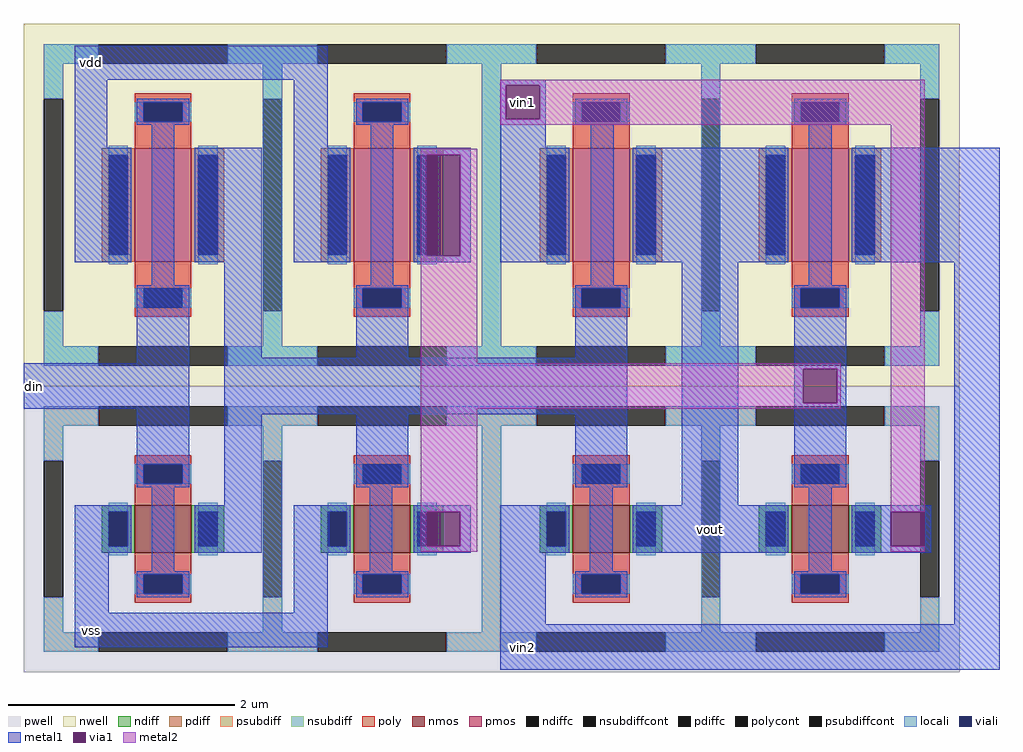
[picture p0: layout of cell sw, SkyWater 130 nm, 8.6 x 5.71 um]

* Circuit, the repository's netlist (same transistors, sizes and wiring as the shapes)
** sch_path: /home/97ms/uci/ip/dac/1.schematics/sw.sch


.subckt sw vdd vss din vin1 vin2 vout
*.iopin vdd
*.iopin vss
*.iopin din
*.iopin vin1
*.iopin vin2
*.iopin vout
XM1 net1 din vdd vdd sky130_fd_pr__pfet_01v8 L=0.5 W=1
XM2 net2 net1 vdd vdd sky130_fd_pr__pfet_01v8 L=0.5 W=1
XM3 vout net1 vin1 vdd sky130_fd_pr__pfet_01v8 L=0.5 W=1
XM4 vin2 net2 vout vdd sky130_fd_pr__pfet_01v8 L=0.5 W=1
XM5 net1 din vss vss sky130_fd_pr__nfet_01v8 L=0.5 W=0.42
XM6 net2 net1 vss vss sky130_fd_pr__nfet_01v8 L=0.5 W=0.42
XM7 vout net1 vin2 vss sky130_fd_pr__nfet_01v8 L=0.5 W=0.42
XM8 vin1 net2 vout vss sky130_fd_pr__nfet_01v8 L=0.5 W=0.42
**.ends
.ends sw

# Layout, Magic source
magic
tech sky130B
magscale 1 2
<< metal1 >>
rect -110 940 336 1000
rect -110 820 -52 940
rect -110 618 -10 820
rect 26 578 66 860
rect 276 820 336 940
rect 640 930 720 940
rect 640 870 650 930
rect 710 870 720 930
rect 102 618 220 820
rect 276 618 376 820
rect 0 440 92 576
rect -200 360 92 440
rect 0 268 92 360
rect 154 450 220 618
rect 412 578 452 860
rect 640 820 720 870
rect 488 808 588 820
rect 488 630 510 808
rect 570 630 588 808
rect 488 618 588 630
rect 640 618 762 820
rect 800 578 840 860
rect 874 618 1148 820
rect 386 450 478 538
rect 772 450 864 538
rect 154 350 864 450
rect -110 0 -50 190
rect 26 74 66 222
rect 154 190 220 350
rect 386 222 478 350
rect 772 222 864 350
rect 102 106 220 190
rect 276 106 340 190
rect 276 0 336 106
rect 410 74 450 222
rect 488 178 588 190
rect 488 118 510 178
rect 570 118 588 178
rect 488 106 588 118
rect -110 -60 336 0
rect 640 -20 720 190
rect 798 74 838 222
rect 960 190 1060 618
rect 1184 578 1224 860
rect 1260 618 1520 820
rect 1158 430 1250 538
rect 1158 370 1174 430
rect 1234 370 1250 430
rect 1158 222 1250 370
rect 874 106 1146 190
rect 1184 74 1224 222
rect 1260 178 1400 190
rect 1260 118 1328 178
rect 1388 118 1400 178
rect 1260 106 1400 118
rect 1440 -20 1520 618
rect 640 -100 1520 -20
<< via1 >>
rect 650 870 710 930
rect 510 630 570 808
rect 510 118 570 178
rect 1174 370 1234 430
rect 1328 118 1388 178
<< metal2 >>
rect 640 930 1388 940
rect 640 870 650 930
rect 710 870 1388 930
rect 640 860 1388 870
rect 500 808 600 818
rect 500 630 510 808
rect 570 630 600 808
rect 500 440 600 630
rect 500 430 1240 440
rect 500 370 1174 430
rect 1234 370 1240 430
rect 500 360 1240 370
rect 500 178 600 360
rect 500 118 510 178
rect 570 118 600 178
rect 500 108 600 118
rect 1328 178 1388 860
rect 1328 108 1388 118
use sky130_fd_pr__pfet_01v8_XPYSY6  sky130_fd_pr__pfet_01v8_XPYSY6_0
transform 1 0 46 0 1 719
box -246 -319 246 319
use sky130_fd_pr__pfet_01v8_XHX9Y6  XM2
transform 1 0 432 0 1 719
box -246 -319 246 319
use sky130_fd_pr__pfet_01v8_XHX9Y6  XM3
transform 1 0 818 0 1 719
box -246 -319 246 319
use sky130_fd_pr__pfet_01v8_XPYSY6  XM4
transform 1 0 1204 0 1 719
box -246 -319 246 319
use sky130_fd_pr__nfet_01v8_ZFH27D  XM5
transform 1 0 46 0 1 148
box -246 -252 246 252
use sky130_fd_pr__nfet_01v8_HEL24J  XM6
transform 1 0 432 0 1 148
box -246 -252 246 252
use sky130_fd_pr__nfet_01v8_HEL24J  XM7
transform 1 0 818 0 1 148
box -246 -252 246 252
use sky130_fd_pr__nfet_01v8_ZFH27D  XM8
transform 1 0 1204 0 1 148
box -246 -252 246 252
<< labels >>
rlabel metal1 960 106 1060 190 1 vout
port 6 n
rlabel metal1 -200 360 -160 440 1 din
port 3 n
rlabel metal1 -110 -60 -50 0 1 vss
port 2 n
rlabel metal1 -110 940 -52 1000 1 vdd
port 1 n
rlabel metal2 640 860 720 940 1 vin1
port 4 n
rlabel metal1 640 -100 720 -20 1 vin2
port 5 n
<< end >>

# cell sky130_fd_pr__pfet_01v8_XPYSY6: kit device sky130_fd_pr__pfet_01v8, w 1.0 l 0.5 m 1 nf 1 diffcov 100 polycov 100 guard 1 glc 1 grc 1 gtc 1 gbc 1 tbcov 100 rlcov 100 topc 1 botc 1 poverlap 0 doverlap 1 lmin 0.15 wmin 0.42 compatible {sky130_fd_pr__pfet_01v8 sky130_fd_pr__pfet_01v8_lvt sky130_fd_pr__pfet_01v8_hvt sky130_fd_pr__pfet_g5v0d10v5} full_metal 1 viasrc 100 viadrn 100 viagate 100 viagb 0 viagr 0 viagl 0 viagt 0

# cell sky130_fd_pr__pfet_01v8_XHX9Y6: kit device sky130_fd_pr__pfet_01v8, w 1.0 l 0.5 m 1 nf 1 diffcov 100 polycov 100 guard 1 glc 0 grc 0 gtc 1 gbc 1 tbcov 100 rlcov 100 topc 1 botc 1 poverlap 0 doverlap 1 lmin 0.15 wmin 0.42 compatible {sky130_fd_pr__pfet_01v8 sky130_fd_pr__pfet_01v8_lvt sky130_fd_pr__pfet_01v8_hvt sky130_fd_pr__pfet_g5v0d10v5} full_metal 1 viasrc 100 viadrn 100 viagate 100 viagb 0 viagr 0 viagl 0 viagt 0

# cell sky130_fd_pr__nfet_01v8_ZFH27D: kit device sky130_fd_pr__nfet_01v8, w 0.42 l 0.5 m 1 nf 1 diffcov 100 polycov 100 guard 1 glc 1 grc 1 gtc 1 gbc 1 tbcov 100 rlcov 100 topc 1 botc 1 poverlap 0 doverlap 1 lmin 0.15 wmin 0.42 compatible {sky130_fd_pr__nfet_01v8 sky130_fd_pr__nfet_01v8_lvt sky130_fd_bs_flash__special_sonosfet_star sky130_fd_pr__nfet_g5v0d10v5 sky130_fd_pr__nfet_05v0_nvt sky130_fd_pr__nfet_03v3_nvt} full_metal 1 viasrc 100 viadrn 100 viagate 100 viagb 0 viagr 0 viagl 0 viagt 0

# cell sky130_fd_pr__nfet_01v8_HEL24J: kit device sky130_fd_pr__nfet_01v8, w 0.42 l 0.5 m 1 nf 1 diffcov 100 polycov 100 guard 1 glc 0 grc 0 gtc 1 gbc 1 tbcov 100 rlcov 100 topc 1 botc 1 poverlap 0 doverlap 1 lmin 0.15 wmin 0.42 compatible {sky130_fd_pr__nfet_01v8 sky130_fd_pr__nfet_01v8_lvt sky130_fd_bs_flash__special_sonosfet_star sky130_fd_pr__nfet_g5v0d10v5 sky130_fd_pr__nfet_05v0_nvt sky130_fd_pr__nfet_03v3_nvt} full_metal 1 viasrc 100 viadrn 100 viagate 100 viagb 0 viagr 0 viagl 0 viagt 0
